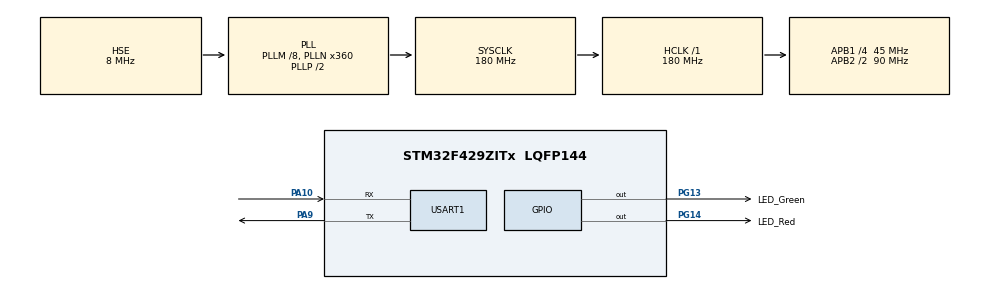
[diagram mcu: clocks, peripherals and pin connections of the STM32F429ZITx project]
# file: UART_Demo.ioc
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Mcu.Family=STM32F4
Mcu.Name=STM32F429ZITx
Mcu.Package=LQFP144
NVIC.PriorityGroup=NVIC_PRIORITYGROUP_4
NVIC.USART1_IRQn=true\:0\:0\:false\:false\:true\:true\:true
PA10.Mode=Asynchronous
PA10.Signal=USART1_RX
PA9.Mode=Asynchronous
PA9.Signal=USART1_TX
PG13.GPIO_Label=LED_Green
PG13.GPIO_Speed=GPIO_SPEED_FREQ_VERY_HIGH
PG13.PinState=GPIO_PIN_RESET
PG13.Signal=GPIO_Output
PG14.GPIO_Label=LED_Red
PG14.GPIO_Speed=GPIO_SPEED_FREQ_VERY_HIGH
PG14.Signal=GPIO_Output
PH0/OSC_IN.Mode=HSE-External-Oscillator
PH0/OSC_IN.Signal=RCC_OSC_IN
PH1/OSC_OUT.Mode=HSE-External-Oscillator
PH1/OSC_OUT.Signal=RCC_OSC_OUT
ProjectManager.HeapSize=0x200
ProjectManager.StackSize=0x400
ProjectManager.TargetToolchain=STM32CubeIDE
RCC.48MHZClocksFreq_Value=90000000
RCC.AHBFreq_Value=180000000
RCC.APB1CLKDivider=RCC_HCLK_DIV4
RCC.APB1Freq_Value=45000000
RCC.APB1TimFreq_Value=90000000
RCC.APB2CLKDivider=RCC_HCLK_DIV2
RCC.APB2Freq_Value=90000000
RCC.APB2TimFreq_Value=180000000
RCC.CortexFreq_Value=180000000
RCC.HCLKFreq_Value=180000000
RCC.HSE_VALUE=8000000
RCC.HSI_VALUE=16000000
RCC.LSE_VALUE=32768
RCC.PLLM=8
RCC.PLLN=360
RCC.PLLSourceVirtual=RCC_PLLSOURCE_HSE
RCC.SYSCLKFreq_VALUE=180000000
RCC.SYSCLKSource=RCC_SYSCLKSOURCE_PLLCLK
RCC.VCOOutputFreq_Value=360000000
USART1.VirtualMode=VM_ASYNC
board=custom

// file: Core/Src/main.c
/* USER CODE BEGIN Header */
/**
  ******************************************************************************
  * @file           : main.c
  * @brief          : Main program body
  ******************************************************************************
  * @attention
  *
  * <h2><center>&copy; Copyright (c) 2020 STMicroelectronics.
  * All rights reserved.</center></h2>
  *
  * This software component is licensed by ST under BSD 3-Clause license,
  * the "License"; You may not use this file except in compliance with the
  * License. You may obtain a copy of the License at:
  *                        opensource.org/licenses/BSD-3-Clause
  *
  ******************************************************************************
  */
/* USER CODE END Header */
#include "main.h"

/* USER CODE BEGIN Includes */
#include <stdio.h>
/* USER CODE END Includes */

UART_HandleTypeDef huart1;

void SystemClock_Config(void);
static void MX_GPIO_Init(void);
static void MX_USART1_UART_Init(void);

int main(void)
{

  /* MCU Configuration--------------------------------------------------------*/

  /* Reset of all peripherals, Initializes the Flash interface and the Systick. */
  HAL_Init();

  /* Configure the system clock */
  SystemClock_Config();

  /* Initialize all configured peripherals */
  MX_GPIO_Init();
  MX_USART1_UART_Init();
  /* USER CODE BEGIN 2 */
  printf("Program start ...");
  /* USER CODE END 2 */

  /* Infinite loop */
  while (1)
  {
	  printf("Hello World!\r\n");
	  HAL_GPIO_TogglePin(GPIOG, GPIO_PIN_13);
	  HAL_Delay(100);
  }
}

void SystemClock_Config(void)
{
  RCC_OscInitTypeDef RCC_OscInitStruct = {0};
  RCC_ClkInitTypeDef RCC_ClkInitStruct = {0};

  /** Configure the main internal regulator output voltage
  */
  __HAL_RCC_PWR_CLK_ENABLE();
  __HAL_PWR_VOLTAGESCALING_CONFIG(PWR_REGULATOR_VOLTAGE_SCALE1);
  /** Initializes the RCC Oscillators according to the specified parameters
  * in the RCC_OscInitTypeDef structure.
  */
  RCC_OscInitStruct.OscillatorType = RCC_OSCILLATORTYPE_HSE;
  RCC_OscInitStruct.HSEState = RCC_HSE_ON;
  RCC_OscInitStruct.PLL.PLLState = RCC_PLL_ON;
  RCC_OscInitStruct.PLL.PLLSource = RCC_PLLSOURCE_HSE;
  RCC_OscInitStruct.PLL.PLLM = 8;
  RCC_OscInitStruct.PLL.PLLN = 360;
  RCC_OscInitStruct.PLL.PLLP = RCC_PLLP_DIV2;
  RCC_OscInitStruct.PLL.PLLQ = 4;
  if (HAL_RCC_OscConfig(&RCC_OscInitStruct) != HAL_OK)
  {
    Error_Handler();
  }
  /** Activate the Over-Drive mode
  */
  if (HAL_PWREx_EnableOverDrive() != HAL_OK)
  {
    Error_Handler();
  }
  /** Initializes the CPU, AHB and APB buses clocks
  */
  RCC_ClkInitStruct.ClockType = RCC_CLOCKTYPE_HCLK|RCC_CLOCKTYPE_SYSCLK
                              |RCC_CLOCKTYPE_PCLK1|RCC_CLOCKTYPE_PCLK2;
  RCC_ClkInitStruct.SYSCLKSource = RCC_SYSCLKSOURCE_PLLCLK;
  RCC_ClkInitStruct.AHBCLKDivider = RCC_SYSCLK_DIV1;
  RCC_ClkInitStruct.APB1CLKDivider = RCC_HCLK_DIV4;
  RCC_ClkInitStruct.APB2CLKDivider = RCC_HCLK_DIV2;

  if (HAL_RCC_ClockConfig(&RCC_ClkInitStruct, FLASH_LATENCY_5) != HAL_OK)
  {
    Error_Handler();
  }
}

static void MX_USART1_UART_Init(void)
{

  huart1.Instance = USART1;
  huart1.Init.BaudRate = 115200;
  huart1.Init.WordLength = UART_WORDLENGTH_8B;
  huart1.Init.StopBits = UART_STOPBITS_1;
  huart1.Init.Parity = UART_PARITY_NONE;
  huart1.Init.Mode = UART_MODE_TX_RX;
  huart1.Init.HwFlowCtl = UART_HWCONTROL_NONE;
  huart1.Init.OverSampling = UART_OVERSAMPLING_16;
  if (HAL_UART_Init(&huart1) != HAL_OK)
  {
    Error_Handler();
  }

}

static void MX_GPIO_Init(void)
{
  GPIO_InitTypeDef GPIO_InitStruct = {0};

  /* GPIO Ports Clock Enable */
  __HAL_RCC_GPIOH_CLK_ENABLE();
  __HAL_RCC_GPIOA_CLK_ENABLE();
  __HAL_RCC_GPIOG_CLK_ENABLE();

  /*Configure GPIO pin Output Level */
  HAL_GPIO_WritePin(GPIOG, LED_Green_Pin|LED_Red_Pin, GPIO_PIN_RESET);

  /*Configure GPIO pins : LED_Green_Pin LED_Red_Pin */
  GPIO_InitStruct.Pin = LED_Green_Pin|LED_Red_Pin;
  GPIO_InitStruct.Mode = GPIO_MODE_OUTPUT_PP;
  GPIO_InitStruct.Pull = GPIO_NOPULL;
  GPIO_InitStruct.Speed = GPIO_SPEED_FREQ_VERY_HIGH;
  HAL_GPIO_Init(GPIOG, &GPIO_InitStruct);

}

/* USER CODE BEGIN 4 */
void HAL_UART_RxCpltCallback(UART_HandleTypeDef *huart)
{
}

void HAL_UART_TxCpltCallback(UART_HandleTypeDef *huart)
{
}

#if defined(__GNUC__)
int _write(int fd, char * ptr, int len)
{
	HAL_UART_Transmit_IT(&huart1, (uint8_t *) ptr, len);
  return len;
}
#elif defined (__ICCARM__)
#include "LowLevelIOInterface.h"
size_t __write(int handle, const unsigned char * buffer, size_t size)
{
  HAL_UART_Transmit_IT(&huart1, (uint8_t *) buffer, size);
  return size;
}
#elif defined (__CC_ARM)
int fputc(int ch, FILE *f)
{
    HAL_UART_Transmit_IT(&huart1, (uint8_t *)&ch, 1);
    return ch;
}
#endif

// OR:

// Add syscalls.c with GCC

#ifdef __GNUC__
#define PUTCHAR_PROTOTYPE int __io_putchar(int ch)
#else
#define PUTCHAR_PROTOTYPE int fputc(int ch, FILE *f)
#endif /* __GNUC__ */

/**
  * @brief  Retargets the C library printf function to the USART.
  * @param  None
  * @retval None
  */
PUTCHAR_PROTOTYPE
{
    HAL_UART_Transmit_IT(&huart1, (uint8_t *)&ch, 1);
  return ch;
}
/* USER CODE END 4 */

void Error_Handler(void)
{
}

/************************ (C) COPYRIGHT STMicroelectronics *****END OF FILE****/
